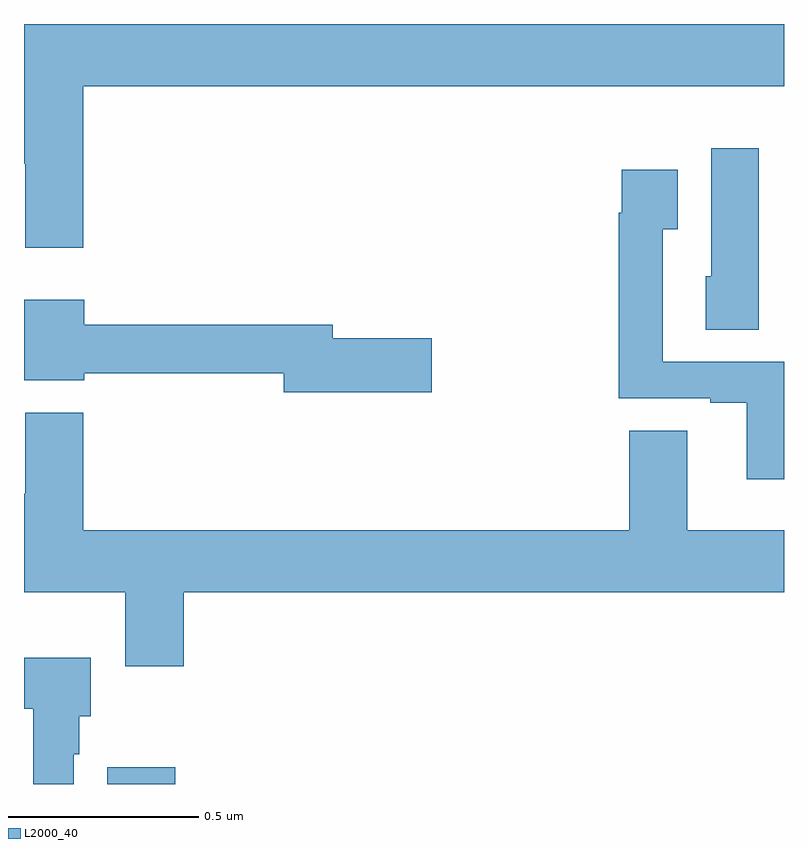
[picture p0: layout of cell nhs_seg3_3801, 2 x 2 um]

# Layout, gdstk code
import gdstk
lib = gdstk.Library(unit=1e-6, precision=1e-09)
def R(c, l, rs):  # rectangles x0, y0, x1, y1
    for r in rs: c.add(gdstk.rectangle(r[:2], r[2:], *l))
def P(c, l, *ps):  # polygons
    for p in ps: c.add(gdstk.Polygon(p, *l))
L2000_40 = (2000, 40)

nhs_seg3_3801 = lib.new_cell('nhs_seg3_3801')
R(nhs_seg3_3801, L2000_40, [(158.219,712.4,158.398,712.444)])
P(nhs_seg3_3801, L2000_40, [(158.156,714.236),(160,714.236),(160,714.4),(158,714.4),(158,714.032),(158.003,714.032),(158.003,713.811),(158.156,713.811)],
  [(159.934,714.073),(159.809,714.073),(159.809,713.736),(159.794,713.736),(159.794,713.596),(159.934,713.596)],
  [(160,713.511),(159.681,713.511),(159.681,713.86),(159.721,713.86),(159.721,714.016),(159.573,714.016),(159.573,713.903),(159.565,713.903),(159.565,713.415),(159.806,713.415),(159.806,713.403),(159.902,713.403),(159.902,713.202),(160,713.202)],
  [(159.073,713.573),(158.812,713.573),(158.812,713.609),(158.158,713.609),(158.158,713.674),(158,713.674),(158,713.462),(158.158,713.462),(158.158,713.481),(158.684,713.481),(158.684,713.431),(159.073,713.431)],
  [(158.42,712.904),(160,712.904),(160,713.068),(159.745,713.068),(159.745,713.33),(159.593,713.33),(159.593,713.068),(158.156,713.068),(158.156,713.377),(158.003,713.377),(158.003,713.164),(158,713.164),(158,712.904),(158.267,712.904),(158.267,712.71),(158.42,712.71)],
  [(158.131,712.478),(158.146,712.478),(158.146,712.578),(158.176,712.578),(158.176,712.732),(158,712.732),(158,712.598),(158.024,712.598),(158.024,712.4),(158.131,712.4)])

lib.write_gds('nhs_seg3_3801.gds')
